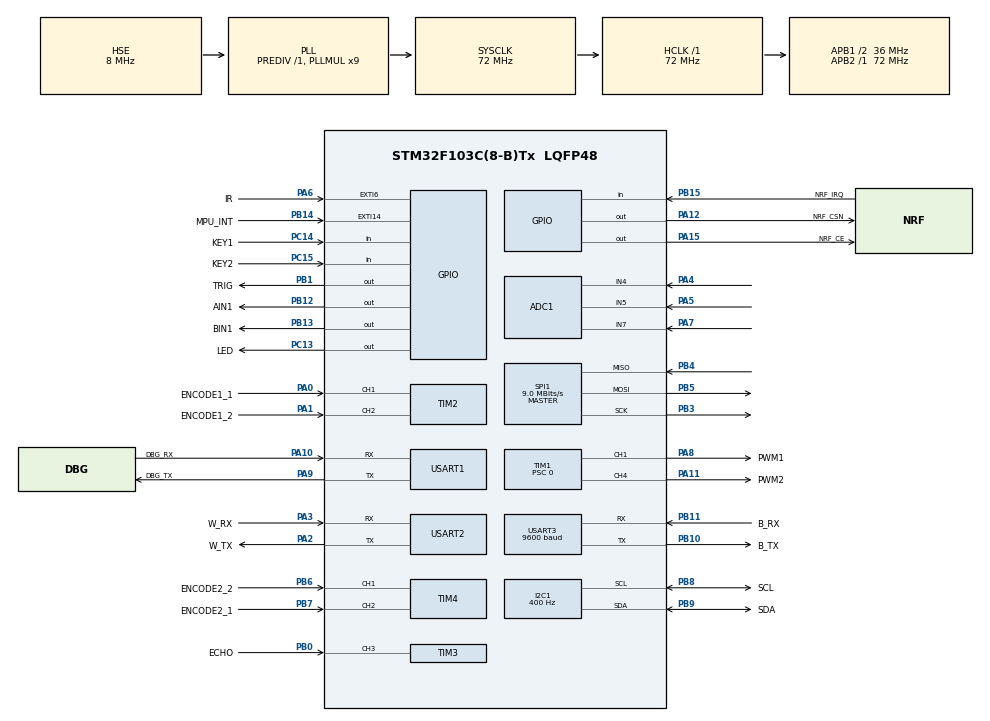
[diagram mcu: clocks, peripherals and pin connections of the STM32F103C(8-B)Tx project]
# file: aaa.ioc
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ADC1.Channel-0\#ChannelRegularConversion=ADC_CHANNEL_7
ADC1.NbrOfConversionFlag=1
ADC1.Rank-0\#ChannelRegularConversion=1
ADC1.SamplingTime-0\#ChannelRegularConversion=ADC_SAMPLETIME_55CYCLES_5
ADC1.master=1
FREERTOS.configMINIMAL_STACK_SIZE=256
FREERTOS.configTOTAL_HEAP_SIZE=8192
I2C1.ClockSpeed=400
I2C1.I2C_Mode=I2C_Fast
Mcu.Family=STM32F1
Mcu.Name=STM32F103C(8-B)Tx
Mcu.Package=LQFP48
NVIC.EXTI15_10_IRQn=true\:6\:0\:true\:false\:true\:true\:true\:true\:true
NVIC.EXTI9_5_IRQn=true\:5\:0\:false\:false\:true\:true\:true\:true\:true
NVIC.PriorityGroup=NVIC_PRIORITYGROUP_4
NVIC.USART2_IRQn=true\:7\:0\:true\:false\:true\:true\:true\:true\:true
NVIC.USART3_IRQn=true\:7\:0\:true\:false\:true\:true\:true\:true\:true
PA0-WKUP.GPIO_Label=ENCODE1_1
PA0-WKUP.Signal=S_TIM2_CH1_ETR
PA1.GPIO_Label=ENCODE1_2
PA1.Signal=S_TIM2_CH2
PA10.GPIO_Label=DBG_RX
PA10.Mode=Asynchronous
PA10.Signal=USART1_RX
PA11.GPIO_Label=PWM2
PA11.Signal=S_TIM1_CH4
PA12.GPIO_Label=NRF_CSN
PA12.PinState=GPIO_PIN_SET
PA12.Signal=GPIO_Output
PA13.Mode=Serial_Wire
PA13.Signal=SYS_JTMS-SWDIO
PA14.Mode=Serial_Wire
PA14.Signal=SYS_JTCK-SWCLK
PA15.GPIO_Label=NRF_CE
PA15.Signal=GPIO_Output
PA2.GPIO_Label=W_TX
PA2.Mode=Asynchronous
PA2.Signal=USART2_TX
PA3.GPIO_Label=W_RX
PA3.Mode=Asynchronous
PA3.Signal=USART2_RX
PA4.Signal=ADCx_IN4
PA5.Signal=ADCx_IN5
PA6.GPIO_Label=IR
PA6.GPIO_ModeDefaultEXTI=GPIO_MODE_IT_FALLING
PA6.GPIO_PuPd=GPIO_PULLUP
PA6.Signal=GPXTI6
PA7.Signal=ADCx_IN7
PA8.GPIO_Label=PWM1
PA8.Signal=S_TIM1_CH1
PA9.GPIO_Label=DBG_TX
PA9.Mode=Asynchronous
PA9.Signal=USART1_TX
PB0.GPIO_Label=ECHO
PB0.GPIO_PuPd=GPIO_PULLDOWN
PB0.Signal=S_TIM3_CH3
PB1.GPIO_Label=TRIG
PB1.Signal=GPIO_Output
PB10.GPIO_Label=B_TX
PB10.Mode=Asynchronous
PB10.Signal=USART3_TX
PB11.GPIO_Label=B_RX
PB11.Mode=Asynchronous
PB11.Signal=USART3_RX
PB12.GPIO_Label=AIN1
PB12.Signal=GPIO_Output
PB13.GPIO_Label=BIN1
PB13.Signal=GPIO_Output
PB14.GPIO_Label=MPU_INT
PB14.GPIO_ModeDefaultEXTI=GPIO_MODE_IT_FALLING
PB14.GPIO_PuPd=GPIO_PULLUP
PB14.Signal=GPXTI14
PB15.GPIO_Label=NRF_IRQ
PB15.GPIO_PuPd=GPIO_PULLUP
PB15.Signal=GPIO_Input
PB3.Mode=Full_Duplex_Master
PB3.Signal=SPI1_SCK
PB4.Mode=Full_Duplex_Master
PB4.Signal=SPI1_MISO
PB5.Mode=Full_Duplex_Master
PB5.Signal=SPI1_MOSI
PB6.GPIO_Label=ENCODE2_2
PB6.Signal=S_TIM4_CH1
PB7.GPIO_Label=ENCODE2_1
PB7.Signal=S_TIM4_CH2
PB8.GPIO_Label=SCL
PB8.Mode=I2C
PB8.Signal=I2C1_SCL
PB9.GPIO_Label=SDA
PB9.Mode=I2C
PB9.Signal=I2C1_SDA
PC13-TAMPER-RTC.GPIO_Label=LED
PC13-TAMPER-RTC.PinState=GPIO_PIN_SET
PC13-TAMPER-RTC.Signal=GPIO_Output
PC14-OSC32_IN.GPIO_Label=KEY1
PC14-OSC32_IN.GPIO_PuPd=GPIO_PULLUP
PC14-OSC32_IN.Signal=GPIO_Input
PC15-OSC32_OUT.GPIO_Label=KEY2
PC15-OSC32_OUT.GPIO_PuPd=GPIO_PULLUP
PC15-OSC32_OUT.Signal=GPIO_Input
PD0-OSC_IN.Mode=HSE-External-Oscillator
PD0-OSC_IN.Signal=RCC_OSC_IN
PD1-OSC_OUT.Mode=HSE-External-Oscillator
PD1-OSC_OUT.Signal=RCC_OSC_OUT
ProjectManager.HeapSize=0x200
ProjectManager.StackSize=0x400
ProjectManager.TargetToolchain=MDK-ARM V5.32
RCC.ADCPresc=RCC_ADCPCLK2_DIV6
RCC.AHBFreq_Value=72000000
RCC.APB1CLKDivider=RCC_HCLK_DIV2
RCC.APB1Freq_Value=36000000
RCC.APB1TimFreq_Value=72000000
RCC.APB2Freq_Value=72000000
RCC.APB2TimFreq_Value=72000000
RCC.HCLKFreq_Value=72000000
RCC.PLLMUL=RCC_PLL_MUL9
RCC.PLLSourceVirtual=RCC_PLLSOURCE_HSE
RCC.SYSCLKFreq_VALUE=72000000
RCC.SYSCLKSource=RCC_SYSCLKSOURCE_PLLCLK
RCC.USBFreq_Value=72000000
SH.ADCx_IN4.0=ADC1_IN4,IN4
SH.ADCx_IN5.0=ADC1_IN5,IN5
SH.ADCx_IN7.0=ADC1_IN7,IN7
SH.S_TIM1_CH1.0=TIM1_CH1,PWM Generation1 CH1
SH.S_TIM1_CH4.0=TIM1_CH4,PWM Generation4 CH4
SH.S_TIM2_CH1_ETR.0=TIM2_CH1,Encoder_Interface
SH.S_TIM2_CH2.0=TIM2_CH2,Encoder_Interface
SH.S_TIM3_CH3.0=TIM3_CH3,Input_Capture3_from_TI3
SH.S_TIM4_CH1.0=TIM4_CH1,Encoder_Interface
SH.S_TIM4_CH2.0=TIM4_CH2,Encoder_Interface
SPI1.BaudRatePrescaler=SPI_BAUDRATEPRESCALER_8
SPI1.CalculateBaudRate=9.0 MBits/s
SPI1.Direction=SPI_DIRECTION_2LINES
SPI1.Mode=SPI_MODE_MASTER
SPI1.VirtualType=VM_MASTER
TIM1.AutoReloadPreload=TIM_AUTORELOAD_PRELOAD_ENABLE
TIM1.Channel-PWM\ Generation1\ CH1=TIM_CHANNEL_1
TIM1.Channel-PWM\ Generation4\ CH4=TIM_CHANNEL_4
TIM1.Period=7199
TIM1.Prescaler=0
TIM2.EncoderMode=TIM_ENCODERMODE_TI12
TIM2.IC1Filter=4
TIM2.IC2Filter=4
TIM3.Channel-Input_Capture3_from_TI3=TIM_CHANNEL_3
TIM3.Prescaler=71
TIM4.EncoderMode=TIM_ENCODERMODE_TI12
TIM4.IC1Filter=4
TIM4.IC2Filter=4
USART1.VirtualMode=VM_ASYNC
USART2.VirtualMode=VM_ASYNC
USART3.BaudRate=9600
USART3.VirtualMode=VM_ASYNC
VP_FREERTOS_VS_CMSIS_V2.Mode=CMSIS_V2
VP_TIM1_VS_ClockSourceINT.Mode=Internal
VP_TIM3_VS_ClockSourceINT.Mode=Internal
board=custom

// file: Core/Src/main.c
/* USER CODE BEGIN Header */
/**
  ******************************************************************************
  * @file           : main.c
  * @brief          : Main program body
  ******************************************************************************
  * @attention
  *
  * Copyright (c) 2026 STMicroelectronics.
  * All rights reserved.
  *
  * This software is licensed under terms that can be found in the LICENSE file
  * in the root directory of this software component.
  * If no LICENSE file comes with this software, it is provided AS-IS.
  *
  ******************************************************************************
  */
/* USER CODE END Header */
#include "main.h"
#include "cmsis_os.h"
#include "adc.h"
#include "i2c.h"
#include "spi.h"
#include "tim.h"
#include "usart.h"
#include "gpio.h"

void SystemClock_Config(void);
void MX_FREERTOS_Init(void);

int main(void)
{

  /* MCU Configuration--------------------------------------------------------*/

  /* Reset of all peripherals, Initializes the Flash interface and the Systick. */
  HAL_Init();

  /* Configure the system clock */
  SystemClock_Config();

  /* Initialize all configured peripherals */
  MX_GPIO_Init();
  MX_ADC1_Init();
  MX_I2C1_Init();
  MX_SPI1_Init();
  MX_TIM1_Init();
  MX_TIM2_Init();
  MX_TIM3_Init();
  MX_TIM4_Init();
  MX_USART1_UART_Init();
  MX_USART2_UART_Init();
  MX_USART3_UART_Init();

  /* Init scheduler */
  osKernelInitialize();

  /* Call init function for freertos objects (in cmsis_os2.c) */
  MX_FREERTOS_Init();

  /* Start scheduler */
  osKernelStart();

  /* We should never get here as control is now taken by the scheduler */

  /* Infinite loop */
  while (1)
  {

  }
}

void SystemClock_Config(void)
{
  RCC_OscInitTypeDef RCC_OscInitStruct = {0};
  RCC_ClkInitTypeDef RCC_ClkInitStruct = {0};
  RCC_PeriphCLKInitTypeDef PeriphClkInit = {0};

  /** Initializes the RCC Oscillators according to the specified parameters
  * in the RCC_OscInitTypeDef structure.
  */
  RCC_OscInitStruct.OscillatorType = RCC_OSCILLATORTYPE_HSE;
  RCC_OscInitStruct.HSEState = RCC_HSE_ON;
  RCC_OscInitStruct.HSEPredivValue = RCC_HSE_PREDIV_DIV1;
  RCC_OscInitStruct.HSIState = RCC_HSI_ON;
  RCC_OscInitStruct.PLL.PLLState = RCC_PLL_ON;
  RCC_OscInitStruct.PLL.PLLSource = RCC_PLLSOURCE_HSE;
  RCC_OscInitStruct.PLL.PLLMUL = RCC_PLL_MUL9;
  if (HAL_RCC_OscConfig(&RCC_OscInitStruct) != HAL_OK)
  {
    Error_Handler();
  }

  /** Initializes the CPU, AHB and APB buses clocks
  */
  RCC_ClkInitStruct.ClockType = RCC_CLOCKTYPE_HCLK|RCC_CLOCKTYPE_SYSCLK
                              |RCC_CLOCKTYPE_PCLK1|RCC_CLOCKTYPE_PCLK2;
  RCC_ClkInitStruct.SYSCLKSource = RCC_SYSCLKSOURCE_PLLCLK;
  RCC_ClkInitStruct.AHBCLKDivider = RCC_SYSCLK_DIV1;
  RCC_ClkInitStruct.APB1CLKDivider = RCC_HCLK_DIV2;
  RCC_ClkInitStruct.APB2CLKDivider = RCC_HCLK_DIV1;

  if (HAL_RCC_ClockConfig(&RCC_ClkInitStruct, FLASH_LATENCY_2) != HAL_OK)
  {
    Error_Handler();
  }
  PeriphClkInit.PeriphClockSelection = RCC_PERIPHCLK_ADC;
  PeriphClkInit.AdcClockSelection = RCC_ADCPCLK2_DIV6;
  if (HAL_RCCEx_PeriphCLKConfig(&PeriphClkInit) != HAL_OK)
  {
    Error_Handler();
  }
}

void Error_Handler(void)
{
  __disable_irq();
  while (1)
  {
  }
}

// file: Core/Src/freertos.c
/* USER CODE BEGIN Header */
/**
  ******************************************************************************
  * File Name          : freertos.c
  * Description        : Code for freertos applications
  ******************************************************************************
  * @attention
  *
  * Copyright (c) 2026 STMicroelectronics.
  * All rights reserved.
  *
  * This software is licensed under terms that can be found in the LICENSE file
  * in the root directory of this software component.
  * If no LICENSE file comes with this software, it is provided AS-IS.
  *
  ******************************************************************************
  */
/* USER CODE END Header */

#include "FreeRTOS.h"
#include "task.h"
#include "main.h"
#include "cmsis_os.h"

/* USER CODE BEGIN Includes */
#include "control_task.h"   /* controlTask */
#include "remote_task.h"    /* remoteTask */
#include "ui_task.h"        /* uiTask */
#include "test_task.h"      /* testTask */
#include "i2c_mutex.h"      /* I2C1 互斥锁（创建在这里）*/

/* ============ 任务开关（一键切换）============
 * 1 = 运行，0 = 禁用（编译期直接不创建该任务）
 *
 *           测试模式        正常模式
 *  TASK_CONTROL_ON    0        1
 *  TASK_REMOTE_ON     0        1
 *  TASK_UI_ON         0        1
 *  TASK_TEST_ON       1        0
 * ⚠️ TASK_CONTROL_ON 和 TASK_TEST_ON 不要同时开（两者都会写电机）。 */
#define TASK_CONTROL_ON   1
#define TASK_REMOTE_ON    1
#define TASK_UI_ON        1

#define TASK_TEST_ON      0
/* USER CODE END Includes */

/* USER CODE BEGIN Variables */
//在这里定义任务句�?,出身设置
osThreadId_t remoteTaskHandle;
//遥控任务
const osThreadAttr_t remoteTask_attributes = {
  .name = "remoteTask",
  .stack_size = 256 * 4,
  .priority = (osPriority_t) osPriorityAboveNormal1,
};

osThreadId_t controlTaskHandle;
//控制任务
const osThreadAttr_t controlTask_attributes = {
  .name = "controlTask",
  .stack_size = 256 * 4,
  .priority = (osPriority_t) osPriorityRealtime7,  //设置为最高优先级
};
SemaphoreHandle_t i2c_mutex = NULL; /* I2C1 互斥锁（OLED+MPU 共用）*/
osThreadId_t uiTaskHandle;
//显示任务
const osThreadAttr_t uiTask_attributes = {
  .name = "uiTask",
  .stack_size = 256 * 4,
  .priority = (osPriority_t) osPriorityLow,   //最低优先级，纯显示不抢时间
};

osThreadId_t testTaskHandle;
//测试任务（仅测试模式创建，见顶部任务开关）
const osThreadAttr_t testTask_attributes = {
  .name = "testTask",
  .stack_size = 256 * 4,
  .priority = (osPriority_t) osPriorityRealtime7,   //测试任务最高（测试模式才存在）
};
/* USER CODE END Variables */
/* Definitions for defaultTask */
osThreadId_t defaultTaskHandle;
const osThreadAttr_t defaultTask_attributes = {
  .name = "defaultTask",
  .stack_size = 256 * 4,
  .priority = (osPriority_t) osPriorityNormal,
};

void StartDefaultTask(void *argument);

void MX_FREERTOS_Init(void); /* (MISRA C 2004 rule 8.1) */

void MX_FREERTOS_Init(void) {

  /* USER CODE BEGIN RTOS_MUTEX */
  /* I2C1 互斥锁：OLED 和 MPU6050 共用总线 */
  i2c_mutex = xSemaphoreCreateMutex();
  /* USER CODE END RTOS_MUTEX */

  /* USER CODE BEGIN RTOS_QUEUES */
  /* add queues, ... */
    /* 遥控邮箱：提前在调度器启动前创建，避免 control_task 先于 remote_task 运行时 remoteQueueHandle 还是 NULL */
    remoteQueueHandle = xQueueCreate(1, sizeof(RemoteData_t));
  /* USER CODE END RTOS_QUEUES */

  /* Create the thread(s) */
  /* 任务创建统一放在下面 USER CODE 区：带开关控制 + 防 CubeMX 重新生成时冲掉 */

  /* USER CODE BEGIN RTOS_THREADS */
  /* 按任务开关创建（开关宏定义在文件顶部 Includes 区）*/
#if TASK_CONTROL_ON
  controlTaskHandle = osThreadNew(controlTask, NULL, &controlTask_attributes);
#endif
#if TASK_REMOTE_ON
  remoteTaskHandle  = osThreadNew(remoteTask,  NULL, &remoteTask_attributes);
#endif
#if TASK_UI_ON
  uiTaskHandle      = osThreadNew(uiTask,      NULL, &uiTask_attributes);
#endif
#if TASK_TEST_ON
  testTaskHandle    = osThreadNew(testTask,    NULL, &testTask_attributes);
#endif
  /* USER CODE END RTOS_THREADS */

}

void StartDefaultTask(void *argument)
{
  (void)argument;              /* 未使用参数，避免编译警告 */
  for(;;)
  {
    osDelay(1);
  }
}

/* USER CODE BEGIN Application */

/* ============ 栈溢出钩子（需在 FreeRTOSConfig.h 开 configCHECK_FOR_STACK_OVERFLOW）====
 * 任务栈被写穿（局部变量太多/恢复溢出）时，FreeRTOS 会调用这里。
 * 此时栈已坏，绝不能打印/访问外设（会二次溢出）。
 * 安全做法：关中断 + 死循环锁死，并把爆栈任务名存到全局，方便调试器查看。 */
char g_stackOverflowTask[configMAX_TASK_NAME_LEN] = "none";
volatile uint8_t g_stackOverflowFlag = 0;

void vApplicationStackOverflowHook(TaskHandle_t xTask, char *pcTaskName)
{
    (void)xTask;               /* 未使用参数，避免编译警告 */
    __disable_irq();                       /* 锁死调度，防止再切换/再写坏内存 */
    g_stackOverflowFlag = 1;               /* 调试标志：=1 表示曾经溢栈 */
    if (pcTaskName != NULL) {
        /* 安全拷任务名（栈已坏，只做简单拷贝，不打印）*/
        uint8_t i = 0;
        while (i < configMAX_TASK_NAME_LEN - 1 && pcTaskName[i]) {
            g_stackOverflowTask[i] = pcTaskName[i];
            i++;
        }
        g_stackOverflowTask[i] = '\0';
    }
    for (;;) { }                           /* 死循环：停在爆栈点，方便调试器定位 */
}

/* USER CODE END Application */
